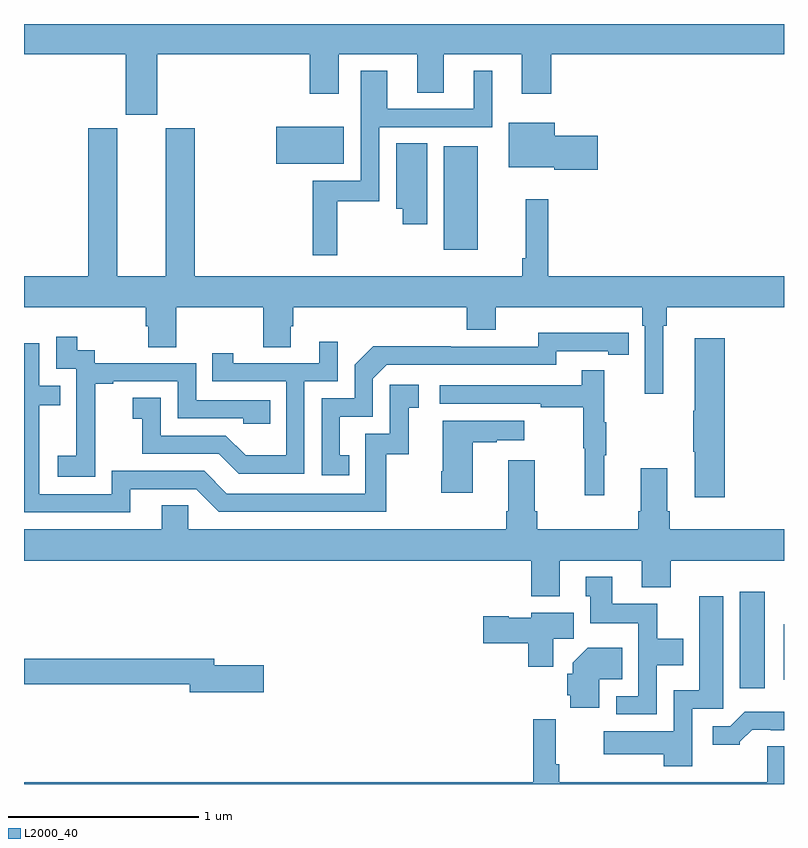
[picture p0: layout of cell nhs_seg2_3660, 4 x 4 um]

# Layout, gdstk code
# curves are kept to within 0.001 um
import gdstk
lib = gdstk.Library(unit=1e-6, precision=1e-09)
def R(c, l, rs):  # rectangles x0, y0, x1, y1
    for r in rs: c.add(gdstk.rectangle(r[:2], r[2:], *l))
def P(c, l, *ps):  # polygons
    for p in ps: c.add(gdstk.Polygon(p, *l))
L2000_40 = (2000, 40)

nhs_seg2_3660 = lib.new_cell('nhs_seg2_3660')
R(nhs_seg2_3660, L2000_40, [(306.767,640.305,306.898,640.813), (306.998,640.349,307,640.642), (305.21,642.611,305.389,643.156), (304.328,643.064,304.684,643.258)])
P(nhs_seg2_3660, L2000_40, [(303.7,643.64),(304.505,643.64),(304.505,643.434),(304.657,643.434),(304.657,643.64),(305.069,643.64),(305.069,643.438),(305.209,643.438),(305.209,643.64),(305.621,643.64),(305.621,643.434),(305.774,643.434),(305.774,643.64),(307,643.64),(307,643.8),(303,643.8),(303,643.64),(303.536,643.64),(303.536,643.323),(303.7,643.323)],
  [(304.648,642.867),(304.869,642.867),(304.869,643.257),(305.464,643.257),(305.464,643.555),(305.366,643.555),(305.366,643.353),(304.912,643.353),(304.912,643.555),(304.773,643.555),(304.773,642.975),(304.519,642.975),(304.519,642.582),(304.648,642.582)],
  [(306.019,643.212),(305.794,643.212),(305.794,643.279),(305.552,643.279),(305.552,643.046),(305.79,643.046),(305.79,643.034),(306.019,643.034)],
  [(306.364,642.212),(306.383,642.212),(306.383,642.308),(307,642.308),(307,642.472),(305.759,642.472),(305.759,642.877),(305.641,642.877),(305.641,642.568),(305.623,642.568),(305.623,642.472),(303.899,642.472),(303.899,643.251),(303.746,643.251),(303.746,642.472),(303.49,642.472),(303.49,643.251),(303.338,643.251),(303.338,642.472),(303,642.472),(303,642.308),(303.641,642.308),(303.641,642.21),(303.653,642.21),(303.653,642.1),(303.801,642.1),(303.801,642.308),(304.258,642.308),(304.258,642.1),(304.405,642.1),(304.405,642.21),(304.418,642.21),(304.418,642.308),(305.33,642.308),(305.33,642.191),(305.482,642.191),(305.482,642.308),(306.254,642.308),(306.254,642.212),(306.267,642.212),(306.267,641.853),(306.364,641.853)],
  [(305.122,643.172),(304.958,643.172),(304.958,642.827),(304.993,642.827),(304.993,642.747),(305.122,642.747)],
  [(304.712,641.529),(304.663,641.529),(304.663,641.733),(304.836,641.733),(304.836,641.934),(304.908,642.006),(305.802,642.006),(305.802,642.078),(306.074,642.078),(306.074,642.058),(306.182,642.058),(306.182,642.174),(305.706,642.175),(305.706,642.102),(305.246,642.102),(305.246,642.104),(304.838,642.104),(304.74,642.006),(304.74,641.829),(304.566,641.829),(304.566,641.424),(304.712,641.424)],
  [(303.375,641.623),(303.374,641.623),(303.374,641.907),(303.469,641.907),(303.469,641.919),(303.81,641.919),(303.81,641.724),(304.155,641.724),(304.155,641.697),(304.295,641.697),(304.295,641.82),(303.906,641.82),(303.906,642.015),(303.372,642.015),(303.372,642.084),(303.28,642.084),(303.28,642.154),(303.171,642.154),(303.171,641.985),(303.276,641.985),(303.276,641.756),(303.275,641.756),(303.275,641.527),(303.177,641.527),(303.177,641.417),(303.375,641.417)],
  [(306.689,642.145),(306.53,642.145),(306.53,641.765),(306.523,641.765),(306.523,641.548),(306.53,641.548),(306.53,641.31),(306.689,641.31)],
  [(304.476,641.919),(304.65,641.919),(304.65,642.127),(304.553,642.127),(304.553,642.015),(304.102,642.015),(304.102,642.067),(303.991,642.067),(303.991,641.919),(304.38,641.919),(304.38,641.53),(304.166,641.53),(304.062,641.634),(303.72,641.634),(303.72,641.833),(303.573,641.833),(303.573,641.723),(303.622,641.723),(303.622,641.538),(304.025,641.538),(304.13,641.433),(304.476,641.433)],
  [(303.559,641.352),(303.906,641.352),(304.026,641.232),(304.906,641.232),(304.906,641.535),(305.024,641.535),(305.024,641.781),(305.077,641.781),(305.077,641.902),(304.926,641.902),(304.926,641.643),(304.797,641.643),(304.797,641.328),(304.068,641.328),(303.948,641.448),(303.462,641.448),(303.462,641.325),(303.081,641.325),(303.081,641.794),(303.191,641.794),(303.191,641.895),(303.081,641.895),(303.081,642.12),(303,642.12),(303,641.229),(303.559,641.229)],
  [(306.053,641.531),(306.064,641.531),(306.064,641.705),(306.053,641.705),(306.053,641.977),(305.935,641.977),(305.935,641.898),(305.187,641.898),(305.187,641.802),(305.719,641.802),(305.719,641.782),(305.943,641.782),(305.943,641.568),(305.95,641.568),(305.95,641.319),(306.053,641.319)],
  [(305.362,641.599),(305.489,641.599),(305.489,641.609),(305.632,641.609),(305.632,641.713),(305.204,641.713),(305.204,641.446),(305.197,641.446),(305.197,641.334),(305.362,641.334)],
  [(305.821,640.976),(306.251,640.976),(306.251,640.835),(306.404,640.835),(306.404,640.976),(307,640.976),(307,641.14),(306.398,641.14),(306.398,641.236),(306.385,641.236),(306.385,641.461),(306.245,641.461),(306.245,641.236),(306.233,641.236),(306.233,641.14),(305.702,641.14),(305.702,641.236),(305.689,641.236),(305.689,641.503),(305.549,641.503),(305.549,641.236),(305.537,641.236),(305.537,641.14),(303.864,641.14),(303.864,641.267),(303.725,641.267),(303.725,641.14),(303,641.14),(303,640.976),(305.669,640.976),(305.669,640.787),(305.821,640.787)],
  [(306.33,640.424),(306.469,640.424),(306.469,640.564),(306.333,640.564),(306.333,640.75),(306.097,640.75),(306.097,640.891),(305.957,640.891),(305.957,640.788),(305.981,640.788),(305.981,640.646),(306.234,640.646),(306.234,640.263),(306.117,640.263),(306.117,640.167),(306.33,640.167)],
  [(306.516,640.197),(306.679,640.197),(306.679,640.789),(306.554,640.789),(306.554,640.294),(306.42,640.294),(306.42,640.078),(306.051,640.078),(306.051,639.956),(306.368,639.956),(306.368,639.894),(306.516,639.894)],
  [(305.786,640.564),(305.893,640.564),(305.893,640.702),(305.67,640.702),(305.67,640.675),(305.55,640.675),(305.55,640.683),(305.418,640.683),(305.418,640.541),(305.654,640.541),(305.654,640.416),(305.786,640.416)],
  [(306.028,640.352),(306.149,640.352),(306.149,640.516),(305.966,640.516),(305.888,640.438),(305.888,640.38),(305.859,640.38),(305.859,640.266),(305.876,640.266),(305.876,640.202),(306.028,640.202)],
  [(304.261,640.424),(304,640.424),(304,640.46),(303,640.46),(303,640.324),(303.872,640.324),(303.872,640.282),(304.261,640.282)],
  [(306.768,640.022),(306.832,640.086),(306.931,640.086),(306.931,640.083),(307,640.083),(307,640.18),(306.793,640.18),(306.717,640.104),(306.624,640.104),(306.624,640.007),(306.768,640.007)],
  [(307,639.998),(306.911,639.998),(306.911,639.808),(305.816,639.808),(305.816,639.904),(305.799,639.904),(305.799,640.141),(305.68,640.141),(305.68,639.808),(303,639.808),(303,639.8),(307,639.8)])

lib.write_gds('nhs_seg2_3660.gds')
